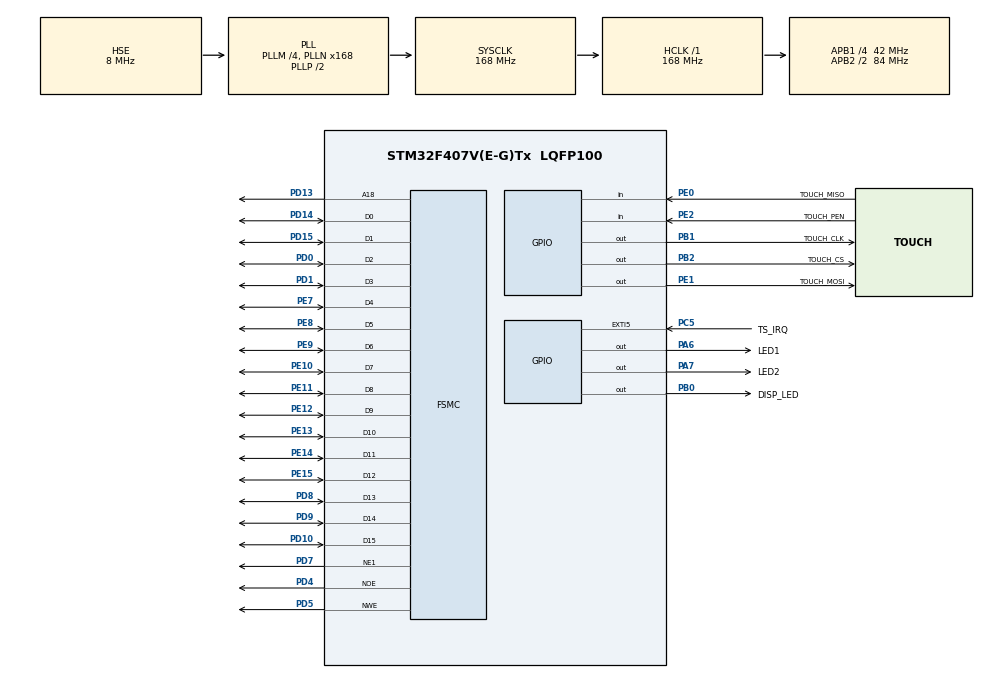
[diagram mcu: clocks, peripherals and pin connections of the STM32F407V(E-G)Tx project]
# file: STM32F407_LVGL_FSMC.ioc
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FSMC.AddressHoldTime1=1
FSMC.AddressSetupTime1=1
FSMC.BusTurnAroundDuration1=1
FSMC.DataSetupTime1=1
FSMC.ExtendedMode1=FSMC_EXTENDED_MODE_DISABLE
Mcu.Family=STM32F4
Mcu.Name=STM32F407V(E-G)Tx
Mcu.Package=LQFP100
NVIC.EXTI9_5_IRQn=true\:0\:0\:false\:false\:true\:true\:true
NVIC.PriorityGroup=NVIC_PRIORITYGROUP_4
PA13.Mode=Serial_Wire
PA13.Signal=SYS_JTMS-SWDIO
PA14.Mode=Serial_Wire
PA14.Signal=SYS_JTCK-SWCLK
PA6.GPIO_Label=LED1
PA6.PinState=GPIO_PIN_SET
PA6.Signal=GPIO_Output
PA7.GPIO_Label=LED2
PA7.PinState=GPIO_PIN_SET
PA7.Signal=GPIO_Output
PB0.GPIO_Label=DISP_LED
PB0.GPIO_Speed=GPIO_SPEED_FREQ_HIGH
PB0.Signal=GPIO_Output
PB1.GPIO_Label=TOUCH_CLK
PB1.Signal=GPIO_Output
PB2.GPIO_Label=TOUCH_CS
PB2.Signal=GPIO_Output
PC14-OSC32_IN.Mode=LSE-External-Oscillator
PC14-OSC32_IN.Signal=RCC_OSC32_IN
PC15-OSC32_OUT.Mode=LSE-External-Oscillator
PC15-OSC32_OUT.Signal=RCC_OSC32_OUT
PC5.GPIO_Label=TS_IRQ
PC5.GPIO_PuPd=GPIO_PULLUP
PC5.Signal=GPXTI5
PD0.Mode=16b-d1
PD0.Signal=FSMC_D2
PD1.Mode=16b-d1
PD1.Signal=FSMC_D3
PD10.Mode=16b-d1
PD10.Signal=FSMC_D15
PD13.Mode=A18_1
PD13.Signal=FSMC_A18
PD14.Mode=16b-d1
PD14.Signal=FSMC_D0
PD15.Mode=16b-d1
PD15.Signal=FSMC_D1
PD4.Mode=Lcd1
PD4.Signal=FSMC_NOE
PD5.Mode=Lcd1
PD5.Signal=FSMC_NWE
PD7.Mode=NorPsramChipSelect1_1
PD7.Signal=FSMC_NE1
PD8.Mode=16b-d1
PD8.Signal=FSMC_D13
PD9.Mode=16b-d1
PD9.Signal=FSMC_D14
PE0.GPIO_Label=TOUCH_MISO
PE0.Signal=GPIO_Input
PE1.GPIO_Label=TOUCH_MOSI
PE1.Signal=GPIO_Output
PE10.Mode=16b-d1
PE10.Signal=FSMC_D7
PE11.Mode=16b-d1
PE11.Signal=FSMC_D8
PE12.Mode=16b-d1
PE12.Signal=FSMC_D9
PE13.Mode=16b-d1
PE13.Signal=FSMC_D10
PE14.Mode=16b-d1
PE14.Signal=FSMC_D11
PE15.Mode=16b-d1
PE15.Signal=FSMC_D12
PE2.GPIO_Label=TOUCH_PEN
PE2.Signal=GPIO_Input
PE7.Mode=16b-d1
PE7.Signal=FSMC_D4
PE8.Mode=16b-d1
PE8.Signal=FSMC_D5
PE9.Mode=16b-d1
PE9.Signal=FSMC_D6
PH0-OSC_IN.Mode=HSE-External-Oscillator
PH0-OSC_IN.Signal=RCC_OSC_IN
PH1-OSC_OUT.Mode=HSE-External-Oscillator
PH1-OSC_OUT.Signal=RCC_OSC_OUT
ProjectManager.HeapSize=0x2000
ProjectManager.StackSize=0x2000
ProjectManager.TargetToolchain=Makefile
RCC.48MHZClocksFreq_Value=48000000
RCC.AHBFreq_Value=168000000
RCC.APB1CLKDivider=RCC_HCLK_DIV4
RCC.APB1Freq_Value=42000000
RCC.APB1TimFreq_Value=84000000
RCC.APB2CLKDivider=RCC_HCLK_DIV2
RCC.APB2Freq_Value=84000000
RCC.APB2TimFreq_Value=168000000
RCC.CortexFreq_Value=168000000
RCC.HCLKFreq_Value=168000000
RCC.HSE_VALUE=8000000
RCC.HSICalibrationValue=8
RCC.HSI_VALUE=16000000
RCC.PLLM=4
RCC.PLLN=168
RCC.PLLQ=7
RCC.PLLSourceVirtual=RCC_PLLSOURCE_HSE
RCC.SYSCLKFreq_VALUE=168000000
RCC.SYSCLKSource=RCC_SYSCLKSOURCE_PLLCLK
RCC.VCOOutputFreq_Value=336000000
board=custom

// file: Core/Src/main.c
/* USER CODE BEGIN Header */
/**
  ******************************************************************************
  * @file           : main.c
  * @brief          : Main program body
  ******************************************************************************
  * @attention
  *
  * <h2><center>&copy; Copyright (c) 2021 STMicroelectronics.
  * All rights reserved.</center></h2>
  *
  * This software component is licensed by ST under Ultimate Liberty license
  * SLA0044, the "License"; You may not use this file except in compliance with
  * the License. You may obtain a copy of the License at:
  *                             www.st.com/SLA0044
  *
  ******************************************************************************
  */
/* USER CODE END Header */
#include "main.h"

/* USER CODE BEGIN Includes */
#include "ILI9341_STM32_Driver.h"
#include <stdbool.h>
#include "lvgl/lvgl.h"
#include "lv_examples/lv_examples.h"

#include "touchpad.h"
/* USER CODE END Includes */

SRAM_HandleTypeDef hsram1;

/* USER CODE BEGIN PV */
DMA_HandleTypeDef hdma_memtomem_dma2_stream0;
/* USER CODE END PV */

void SystemClock_Config(void);
static void MX_GPIO_Init(void);
static void MX_FSMC_Init(void);

/* USER CODE BEGIN 0 */

/**********************
 *  STATIC VARIABLES
 **********************/

/**********************
 *      MACROS
 **********************/

/**********************
 *   GLOBAL FUNCTIONS
 **********************/

/**
 * Create some objects
 */
void lv_tutorial_objects(void)
{

    /********************
     * CREATE A SCREEN
     *******************/
    /* Create a new screen and load it
     * Screen can be created from any type object type
     * Now a Page is used which is an objects with scrollable content*/
    lv_obj_t * scr = lv_page_create(NULL, NULL);
    lv_scr_load(scr);

    /****************
     * ADD A TITLE
     ****************/
    lv_obj_t * label = lv_label_create(scr, NULL); /*First parameters (scr) is the parent*/
    lv_label_set_text(label, "Object usage demo");  /*Set the text*/
    lv_obj_set_x(label, 50);                        /*Set the x coordinate*/

    /***********************
     * CREATE TWO BUTTONS
     ***********************/
    /*Create a button*/
    lv_obj_t * btn1 = lv_btn_create(lv_scr_act(), NULL);         /*Create a button on the currently loaded screen*/
    // lv_btn_set_action(btn1, LV_BTN_ACTION_CLICK, btn_rel_action); /*Set function to be called when the button is released*/
    lv_obj_align(btn1, label, LV_ALIGN_OUT_BOTTOM_LEFT, 0, 20);  /*Align below the label*/

    /*Create a label on the button (the 'label' variable can be reused)*/
    label = lv_label_create(btn1, NULL);
    lv_label_set_text(label, "Button 1");

    /*Copy the previous button*/
    lv_obj_t * btn2 = lv_btn_create(lv_scr_act(), btn1);        /*Second parameter is an object to copy*/
    lv_obj_align(btn2, btn1, LV_ALIGN_OUT_RIGHT_MID, 50, 0);    /*Align next to the prev. button.*/

    /*Create a label on the button*/
    label = lv_label_create(btn2, NULL);
    lv_label_set_text(label, "Button 2");

    /****************
     * ADD A SLIDER
     ****************/
    lv_obj_t * slider = lv_slider_create(scr, NULL);                            /*Create a slider*/
    lv_obj_set_size(slider, lv_obj_get_width(lv_scr_act())  / 3, LV_DPI / 3);   /*Set the size*/
    lv_obj_align(slider, btn1, LV_ALIGN_OUT_BOTTOM_LEFT, 0, 20);                /*Align below the first button*/
    // lv_slider_set_value(slider, 30);                                            /*Set the current value*/

    /****************
     * CREATE A CHART
     ****************/
    lv_obj_t * chart = lv_chart_create(lv_scr_act(), NULL);                         /*Create the chart*/
    lv_obj_set_size(chart, lv_obj_get_width(scr) / 2, lv_obj_get_width(scr) / 4);   /*Set the size*/
    // lv_obj_align(chart, slider, LV_ALIGN_OUT_BOTTOM_LEFT, 0, 50);                   /*Align below the slider*/
    // lv_chart_set_series_width(chart, 3);                                            /*Set the line width*/

    /*Add a RED data series and set some points*/
    lv_chart_series_t * dl1 = lv_chart_add_series(chart, LV_COLOR_RED);
    lv_chart_set_next(chart, dl1, 10);
    lv_chart_set_next(chart, dl1, 25);
    lv_chart_set_next(chart, dl1, 45);
    lv_chart_set_next(chart, dl1, 80);

    /*Add a BLUE data series and set some points*/
    lv_chart_series_t * dl2 = lv_chart_add_series(chart, LV_COLOR_MAKE(0x40, 0x70, 0xC0));
    lv_chart_set_next(chart, dl2, 10);
    lv_chart_set_next(chart, dl2, 25);
    lv_chart_set_next(chart, dl2, 45);
    lv_chart_set_next(chart, dl2, 80);
    lv_chart_set_next(chart, dl2, 75);
    lv_chart_set_next(chart, dl2, 505);
}

/* USER CODE END 0 */

int main(void)
{

  /* MCU Configuration--------------------------------------------------------*/

  /* Reset of all peripherals, Initializes the Flash interface and the Systick. */
  HAL_Init();

  /* Configure the system clock */
  SystemClock_Config();

  /* Initialize all configured peripherals */
  MX_GPIO_Init();
  MX_FSMC_Init();
  /* USER CODE BEGIN 2 */

  lv_init();
  // HAL_GPIO_WritePin(GPIOB, DISP_LED_Pin, GPIO_PIN_SET); // led display on
  ILI9341_Init();
  lv_touchpad_init();
  HAL_Delay(100);

  // lv_demo_benchmark();
  // lv_demo_widgets();
  lv_tutorial_objects();

  /* USER CODE END 2 */

  /* Infinite loop */
  /* USER CODE BEGIN WHILE */
  while (1)
  {
    lv_task_handler();
    HAL_Delay(5);
    /* USER CODE END WHILE */

  }
}

void SystemClock_Config(void)
{
  RCC_OscInitTypeDef RCC_OscInitStruct = {0};
  RCC_ClkInitTypeDef RCC_ClkInitStruct = {0};

  /** Configure the main internal regulator output voltage
  */
  __HAL_RCC_PWR_CLK_ENABLE();
  __HAL_PWR_VOLTAGESCALING_CONFIG(PWR_REGULATOR_VOLTAGE_SCALE1);
  /** Initializes the RCC Oscillators according to the specified parameters
  * in the RCC_OscInitTypeDef structure.
  */
  RCC_OscInitStruct.OscillatorType = RCC_OSCILLATORTYPE_HSE;
  RCC_OscInitStruct.HSEState = RCC_HSE_ON;
  RCC_OscInitStruct.PLL.PLLState = RCC_PLL_ON;
  RCC_OscInitStruct.PLL.PLLSource = RCC_PLLSOURCE_HSE;
  RCC_OscInitStruct.PLL.PLLM = 4;
  RCC_OscInitStruct.PLL.PLLN = 168;
  RCC_OscInitStruct.PLL.PLLP = RCC_PLLP_DIV2;
  RCC_OscInitStruct.PLL.PLLQ = 7;
  if (HAL_RCC_OscConfig(&RCC_OscInitStruct) != HAL_OK)
  {
    Error_Handler();
  }
  /** Initializes the CPU, AHB and APB buses clocks
  */
  RCC_ClkInitStruct.ClockType = RCC_CLOCKTYPE_HCLK|RCC_CLOCKTYPE_SYSCLK
                              |RCC_CLOCKTYPE_PCLK1|RCC_CLOCKTYPE_PCLK2;
  RCC_ClkInitStruct.SYSCLKSource = RCC_SYSCLKSOURCE_PLLCLK;
  RCC_ClkInitStruct.AHBCLKDivider = RCC_SYSCLK_DIV1;
  RCC_ClkInitStruct.APB1CLKDivider = RCC_HCLK_DIV4;
  RCC_ClkInitStruct.APB2CLKDivider = RCC_HCLK_DIV2;

  if (HAL_RCC_ClockConfig(&RCC_ClkInitStruct, FLASH_LATENCY_5) != HAL_OK)
  {
    Error_Handler();
  }
}

static void MX_GPIO_Init(void)
{
  GPIO_InitTypeDef GPIO_InitStruct = {0};

  /* GPIO Ports Clock Enable */
  __HAL_RCC_GPIOE_CLK_ENABLE();
  __HAL_RCC_GPIOC_CLK_ENABLE();
  __HAL_RCC_GPIOH_CLK_ENABLE();
  __HAL_RCC_GPIOA_CLK_ENABLE();
  __HAL_RCC_GPIOB_CLK_ENABLE();
  __HAL_RCC_GPIOD_CLK_ENABLE();

  /*Configure GPIO pin Output Level */
  HAL_GPIO_WritePin(GPIOA, LED1_Pin|LED2_Pin, GPIO_PIN_SET);

  /*Configure GPIO pin Output Level */
  HAL_GPIO_WritePin(GPIOB, DISP_LED_Pin|TOUCH_CLK_Pin|TOUCH_CS_Pin, GPIO_PIN_RESET);

  /*Configure GPIO pin Output Level */
  HAL_GPIO_WritePin(TOUCH_MOSI_GPIO_Port, TOUCH_MOSI_Pin, GPIO_PIN_RESET);

  /*Configure GPIO pins : TOUCH_PEN_Pin TOUCH_MISO_Pin */
  GPIO_InitStruct.Pin = TOUCH_PEN_Pin|TOUCH_MISO_Pin;
  GPIO_InitStruct.Mode = GPIO_MODE_INPUT;
  GPIO_InitStruct.Pull = GPIO_NOPULL;
  HAL_GPIO_Init(GPIOE, &GPIO_InitStruct);

  /*Configure GPIO pins : LED1_Pin LED2_Pin */
  GPIO_InitStruct.Pin = LED1_Pin|LED2_Pin;
  GPIO_InitStruct.Mode = GPIO_MODE_OUTPUT_PP;
  GPIO_InitStruct.Pull = GPIO_NOPULL;
  GPIO_InitStruct.Speed = GPIO_SPEED_FREQ_LOW;
  HAL_GPIO_Init(GPIOA, &GPIO_InitStruct);

  /*Configure GPIO pin : TS_IRQ_Pin */
  GPIO_InitStruct.Pin = TS_IRQ_Pin;
  GPIO_InitStruct.Mode = GPIO_MODE_IT_RISING;
  GPIO_InitStruct.Pull = GPIO_PULLUP;
  HAL_GPIO_Init(TS_IRQ_GPIO_Port, &GPIO_InitStruct);

  /*Configure GPIO pin : DISP_LED_Pin */
  GPIO_InitStruct.Pin = DISP_LED_Pin;
  GPIO_InitStruct.Mode = GPIO_MODE_OUTPUT_PP;
  GPIO_InitStruct.Pull = GPIO_NOPULL;
  GPIO_InitStruct.Speed = GPIO_SPEED_FREQ_HIGH;
  HAL_GPIO_Init(DISP_LED_GPIO_Port, &GPIO_InitStruct);

  /*Configure GPIO pins : TOUCH_CLK_Pin TOUCH_CS_Pin */
  GPIO_InitStruct.Pin = TOUCH_CLK_Pin|TOUCH_CS_Pin;
  GPIO_InitStruct.Mode = GPIO_MODE_OUTPUT_PP;
  GPIO_InitStruct.Pull = GPIO_NOPULL;
  GPIO_InitStruct.Speed = GPIO_SPEED_FREQ_LOW;
  HAL_GPIO_Init(GPIOB, &GPIO_InitStruct);

  /*Configure GPIO pin : TOUCH_MOSI_Pin */
  GPIO_InitStruct.Pin = TOUCH_MOSI_Pin;
  GPIO_InitStruct.Mode = GPIO_MODE_OUTPUT_PP;
  GPIO_InitStruct.Pull = GPIO_NOPULL;
  GPIO_InitStruct.Speed = GPIO_SPEED_FREQ_LOW;
  HAL_GPIO_Init(TOUCH_MOSI_GPIO_Port, &GPIO_InitStruct);

  /* EXTI interrupt init*/
  HAL_NVIC_SetPriority(EXTI9_5_IRQn, 0, 0);
  HAL_NVIC_EnableIRQ(EXTI9_5_IRQn);

}

/* FSMC initialization function */
static void MX_FSMC_Init(void)
{

  FSMC_NORSRAM_TimingTypeDef Timing = {0};

  /** Perform the SRAM1 memory initialization sequence
  */
  hsram1.Instance = FSMC_NORSRAM_DEVICE;
  hsram1.Extended = FSMC_NORSRAM_EXTENDED_DEVICE;
  /* hsram1.Init */
  hsram1.Init.NSBank = FSMC_NORSRAM_BANK1;
  hsram1.Init.DataAddressMux = FSMC_DATA_ADDRESS_MUX_DISABLE;
  hsram1.Init.MemoryType = FSMC_MEMORY_TYPE_SRAM;
  hsram1.Init.MemoryDataWidth = FSMC_NORSRAM_MEM_BUS_WIDTH_16;
  hsram1.Init.BurstAccessMode = FSMC_BURST_ACCESS_MODE_DISABLE;
  hsram1.Init.WaitSignalPolarity = FSMC_WAIT_SIGNAL_POLARITY_LOW;
  hsram1.Init.WrapMode = FSMC_WRAP_MODE_DISABLE;
  hsram1.Init.WaitSignalActive = FSMC_WAIT_TIMING_BEFORE_WS;
  hsram1.Init.WriteOperation = FSMC_WRITE_OPERATION_ENABLE;
  hsram1.Init.WaitSignal = FSMC_WAIT_SIGNAL_DISABLE;
  hsram1.Init.ExtendedMode = FSMC_EXTENDED_MODE_DISABLE;
  hsram1.Init.AsynchronousWait = FSMC_ASYNCHRONOUS_WAIT_DISABLE;
  hsram1.Init.WriteBurst = FSMC_WRITE_BURST_DISABLE;
  hsram1.Init.PageSize = FSMC_PAGE_SIZE_NONE;
  /* Timing */
  Timing.AddressSetupTime = 2;
  Timing.AddressHoldTime = 2;
  Timing.DataSetupTime = 2;
  Timing.BusTurnAroundDuration = 1;
  Timing.CLKDivision = 16;
  Timing.DataLatency = 17;
  Timing.AccessMode = FSMC_ACCESS_MODE_A;
  /* ExtTiming */

  if (HAL_SRAM_Init(&hsram1, &Timing, NULL) != HAL_OK)
  {
    Error_Handler( );
  }

}

/* USER CODE BEGIN 4 */

void HAL_GPIO_EXTI_Callback(uint16_t GPIO_Pin)
{}

/* USER CODE END 4 */

void Error_Handler(void)
{
}

/************************ (C) COPYRIGHT STMicroelectronics *****END OF FILE****/
